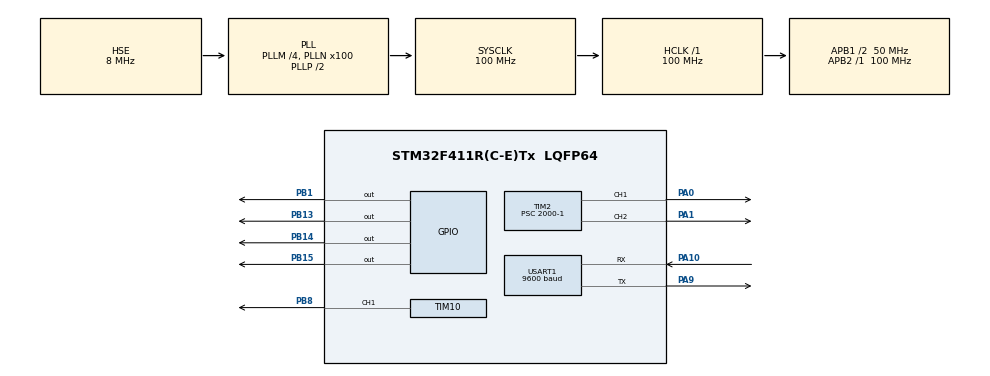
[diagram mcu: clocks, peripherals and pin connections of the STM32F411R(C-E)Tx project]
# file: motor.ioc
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Mcu.Family=STM32F4
Mcu.Name=STM32F411R(C-E)Tx
Mcu.Package=LQFP64
NVIC.PriorityGroup=NVIC_PRIORITYGROUP_0
NVIC.TIM2_IRQn=true\:0\:0\:false\:false\:true\:true\:true\:true
NVIC.USART1_IRQn=true\:0\:0\:false\:false\:true\:true\:true\:true
PA0-WKUP.Signal=S_TIM2_CH1_ETR
PA1.Signal=S_TIM2_CH2
PA10.Mode=Asynchronous
PA10.Signal=USART1_RX
PA13.Mode=Serial_Wire
PA13.Signal=SYS_JTMS-SWDIO
PA14.Mode=Serial_Wire
PA14.Signal=SYS_JTCK-SWCLK
PA9.Mode=Asynchronous
PA9.Signal=USART1_TX
PB1.Signal=GPIO_Output
PB13.Signal=GPIO_Output
PB14.Signal=GPIO_Output
PB15.Signal=GPIO_Output
PB8.Signal=S_TIM10_CH1
PH0\ -\ OSC_IN.Mode=HSE-External-Oscillator
PH0\ -\ OSC_IN.Signal=RCC_OSC_IN
PH1\ -\ OSC_OUT.Mode=HSE-External-Oscillator
PH1\ -\ OSC_OUT.Signal=RCC_OSC_OUT
ProjectManager.HeapSize=0x200
ProjectManager.StackSize=0x400
ProjectManager.TargetToolchain=STM32CubeIDE
RCC.48MHZClocksFreq_Value=50000000
RCC.AHBFreq_Value=100000000
RCC.APB1CLKDivider=RCC_HCLK_DIV2
RCC.APB1Freq_Value=50000000
RCC.APB1TimFreq_Value=100000000
RCC.APB2Freq_Value=100000000
RCC.APB2TimFreq_Value=100000000
RCC.CortexFreq_Value=100000000
RCC.FLatency-AdvancedSettings=FLASH_LATENCY_3
RCC.HCLKFreq_Value=100000000
RCC.HSE_VALUE=8000000
RCC.HSI_VALUE=16000000
RCC.LSE_VALUE=32768
RCC.PLLM=4
RCC.PLLN=100
RCC.PLLSourceVirtual=RCC_PLLSOURCE_HSE
RCC.SYSCLKFreq_VALUE=100000000
RCC.SYSCLKSource=RCC_SYSCLKSOURCE_PLLCLK
RCC.VCOOutputFreq_Value=200000000
SH.S_TIM10_CH1.0=TIM10_CH1,PWM Generation1 CH1
SH.S_TIM2_CH1_ETR.0=TIM2_CH1,PWM Generation1 CH1
SH.S_TIM2_CH2.0=TIM2_CH2,PWM Generation2 CH2
TIM10.Channel=TIM_CHANNEL_1
TIM10.Period=999
TIM10.Prescaler=99
TIM11.Prescaler=9999
TIM2.Channel-PWM\ Generation1\ CH1=TIM_CHANNEL_1
TIM2.Channel-PWM\ Generation2\ CH2=TIM_CHANNEL_2
TIM2.Period=1000-1
TIM2.Prescaler=2000-1
USART1.BaudRate=9600
USART1.VirtualMode=VM_ASYNC
VP_TIM10_VS_ClockSourceINT.Mode=Enable_Timer
VP_TIM11_VS_ClockSourceINT.Mode=Enable_Timer
VP_TIM2_VS_ClockSourceINT.Mode=Internal
board=NUCLEO-F411RE

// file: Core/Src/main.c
/* USER CODE BEGIN Header */
/**
  ******************************************************************************
  * @file           : main.c
  * @brief          : Main program body
  ******************************************************************************
  * @attention
  *
  * Copyright (c) 2024 STMicroelectronics.
  * All rights reserved.
  *
  * This software is licensed under terms that can be found in the LICENSE file
  * in the root directory of this software component.
  * If no LICENSE file comes with this software, it is provided AS-IS.
  *
  ******************************************************************************
  */
/* USER CODE END Header */
#include "main.h"

/* USER CODE BEGIN Includes */
#include "buzzer.h"
#include "motor.h"

/* USER CODE END Includes */

TIM_HandleTypeDef htim2;
TIM_HandleTypeDef htim10;
TIM_HandleTypeDef htim11;

UART_HandleTypeDef huart1;

/* USER CODE BEGIN PV */
uint8_t str_peri[1];
static uint16_t speedIndex = 0;
static uint16_t speedState[] = {600, 800, 1000};
/* USER CODE END PV */

void SystemClock_Config(void);
static void MX_GPIO_Init(void);
static void MX_USART1_UART_Init(void);
static void MX_TIM10_Init(void);
static void MX_TIM2_Init(void);
static void MX_TIM11_Init(void);
/* USER CODE BEGIN PFP */
#ifdef __GNUC__
  /* With GCC, small printf (option LD Linker->Libraries->Small printf
     set to 'Yes') calls __io_putchar() */
  #define PUTCHAR_PROTOTYPE int __io_putchar(int ch)
#else
  #define PUTCHAR_PROTOTYPE int fputc(int ch, FILE *f)
#endif /* __GNUC__ */
/* USER CODE END PFP */

/* USER CODE BEGIN 0 */

extern uint8_t stop;

int speed = 600 ;

void HAL_UARTEx_RxEventCallback(UART_HandleTypeDef *huart, uint16_t rxBufferSize)
{
	if (huart == &huart1)	// else if
	{
		if (rxBufferSize)
		{
			str_peri[rxBufferSize] = 0;	// trans char
		}
		HAL_UARTEx_ReceiveToIdle_IT(&huart1, str_peri, sizeof(str_peri));

		if(str_peri[0] == 'F')
		{
			stop = 0;
			__HAL_TIM_SET_COMPARE(&htim10, TIM_CHANNEL_1, speed);
			Forward();

		}
		else if(str_peri[0] == 'L')
		{
			stop = 0;
			__HAL_TIM_SET_COMPARE(&htim10, TIM_CHANNEL_1, speed);
			Left();
		}
		else if(str_peri[0] == 'B')
		{
			stop = 1;

		}
		else if(str_peri[0] == 'R')
		{
			stop = 0;
			__HAL_TIM_SET_COMPARE(&htim10, TIM_CHANNEL_1, speed);
			Right();
		}
		else if(str_peri[0] == 'P')
		{
			stop = 0;
			STOP();
		}
		else if(str_peri[0] == 'A')
		{
			stop = 0;
			speedIndex = (speedIndex +1) % (sizeof(speedState) / sizeof(speedState[0]));
			speed = speedState[speedIndex];
			__HAL_TIM_SET_COMPARE(&htim10, TIM_CHANNEL_1, speed);
		}

	}

		// default speed

}
/* USER CODE END 0 */

int main(void)
{

  /* MCU Configuration--------------------------------------------------------*/

  /* Reset of all peripherals, Initializes the Flash interface and the Systick. */
  HAL_Init();

  /* Configure the system clock */
  SystemClock_Config();

  /* Initialize all configured peripherals */
  MX_GPIO_Init();
  MX_USART1_UART_Init();
  MX_TIM10_Init();
  MX_TIM2_Init();
  MX_TIM11_Init();
  /* USER CODE BEGIN 2 */
  HAL_UARTEx_ReceiveToIdle_IT(&huart1, str_peri, sizeof(str_peri));
  HAL_TIM_PWM_Start(&htim10, TIM_CHANNEL_1);

  /* USER CODE END 2 */

  /* Infinite loop */
  /* USER CODE BEGIN WHILE */
  while (1)
  {

		music();

    /* USER CODE END WHILE */

  }
}

void SystemClock_Config(void)
{
  RCC_OscInitTypeDef RCC_OscInitStruct = {0};
  RCC_ClkInitTypeDef RCC_ClkInitStruct = {0};

  /** Configure the main internal regulator output voltage
  */
  __HAL_RCC_PWR_CLK_ENABLE();
  __HAL_PWR_VOLTAGESCALING_CONFIG(PWR_REGULATOR_VOLTAGE_SCALE1);

  /** Initializes the RCC Oscillators according to the specified parameters
  * in the RCC_OscInitTypeDef structure.
  */
  RCC_OscInitStruct.OscillatorType = RCC_OSCILLATORTYPE_HSE;
  RCC_OscInitStruct.HSEState = RCC_HSE_ON;
  RCC_OscInitStruct.PLL.PLLState = RCC_PLL_ON;
  RCC_OscInitStruct.PLL.PLLSource = RCC_PLLSOURCE_HSE;
  RCC_OscInitStruct.PLL.PLLM = 4;
  RCC_OscInitStruct.PLL.PLLN = 100;
  RCC_OscInitStruct.PLL.PLLP = RCC_PLLP_DIV2;
  RCC_OscInitStruct.PLL.PLLQ = 4;
  if (HAL_RCC_OscConfig(&RCC_OscInitStruct) != HAL_OK)
  {
    Error_Handler();
  }

  /** Initializes the CPU, AHB and APB buses clocks
  */
  RCC_ClkInitStruct.ClockType = RCC_CLOCKTYPE_HCLK|RCC_CLOCKTYPE_SYSCLK
                              |RCC_CLOCKTYPE_PCLK1|RCC_CLOCKTYPE_PCLK2;
  RCC_ClkInitStruct.SYSCLKSource = RCC_SYSCLKSOURCE_PLLCLK;
  RCC_ClkInitStruct.AHBCLKDivider = RCC_SYSCLK_DIV1;
  RCC_ClkInitStruct.APB1CLKDivider = RCC_HCLK_DIV2;
  RCC_ClkInitStruct.APB2CLKDivider = RCC_HCLK_DIV1;

  if (HAL_RCC_ClockConfig(&RCC_ClkInitStruct, FLASH_LATENCY_3) != HAL_OK)
  {
    Error_Handler();
  }
}

static void MX_TIM2_Init(void)
{

  TIM_ClockConfigTypeDef sClockSourceConfig = {0};
  TIM_MasterConfigTypeDef sMasterConfig = {0};
  TIM_OC_InitTypeDef sConfigOC = {0};

  htim2.Instance = TIM2;
  htim2.Init.Prescaler = 2000-1;
  htim2.Init.CounterMode = TIM_COUNTERMODE_UP;
  htim2.Init.Period = 1000-1;
  htim2.Init.ClockDivision = TIM_CLOCKDIVISION_DIV1;
  htim2.Init.AutoReloadPreload = TIM_AUTORELOAD_PRELOAD_DISABLE;
  if (HAL_TIM_Base_Init(&htim2) != HAL_OK)
  {
    Error_Handler();
  }
  sClockSourceConfig.ClockSource = TIM_CLOCKSOURCE_INTERNAL;
  if (HAL_TIM_ConfigClockSource(&htim2, &sClockSourceConfig) != HAL_OK)
  {
    Error_Handler();
  }
  if (HAL_TIM_PWM_Init(&htim2) != HAL_OK)
  {
    Error_Handler();
  }
  sMasterConfig.MasterOutputTrigger = TIM_TRGO_RESET;
  sMasterConfig.MasterSlaveMode = TIM_MASTERSLAVEMODE_DISABLE;
  if (HAL_TIMEx_MasterConfigSynchronization(&htim2, &sMasterConfig) != HAL_OK)
  {
    Error_Handler();
  }
  sConfigOC.OCMode = TIM_OCMODE_PWM1;
  sConfigOC.Pulse = 0;
  sConfigOC.OCPolarity = TIM_OCPOLARITY_HIGH;
  sConfigOC.OCFastMode = TIM_OCFAST_DISABLE;
  if (HAL_TIM_PWM_ConfigChannel(&htim2, &sConfigOC, TIM_CHANNEL_1) != HAL_OK)
  {
    Error_Handler();
  }
  if (HAL_TIM_PWM_ConfigChannel(&htim2, &sConfigOC, TIM_CHANNEL_2) != HAL_OK)
  {
    Error_Handler();
  }
  HAL_TIM_MspPostInit(&htim2);

}

static void MX_TIM10_Init(void)
{

  TIM_OC_InitTypeDef sConfigOC = {0};

  htim10.Instance = TIM10;
  htim10.Init.Prescaler = 99;
  htim10.Init.CounterMode = TIM_COUNTERMODE_UP;
  htim10.Init.Period = 999;
  htim10.Init.ClockDivision = TIM_CLOCKDIVISION_DIV1;
  htim10.Init.AutoReloadPreload = TIM_AUTORELOAD_PRELOAD_DISABLE;
  if (HAL_TIM_Base_Init(&htim10) != HAL_OK)
  {
    Error_Handler();
  }
  if (HAL_TIM_PWM_Init(&htim10) != HAL_OK)
  {
    Error_Handler();
  }
  sConfigOC.OCMode = TIM_OCMODE_PWM1;
  sConfigOC.Pulse = 0;
  sConfigOC.OCPolarity = TIM_OCPOLARITY_HIGH;
  sConfigOC.OCFastMode = TIM_OCFAST_DISABLE;
  if (HAL_TIM_PWM_ConfigChannel(&htim10, &sConfigOC, TIM_CHANNEL_1) != HAL_OK)
  {
    Error_Handler();
  }
  HAL_TIM_MspPostInit(&htim10);

}

static void MX_TIM11_Init(void)
{

  htim11.Instance = TIM11;
  htim11.Init.Prescaler = 9999;
  htim11.Init.CounterMode = TIM_COUNTERMODE_UP;
  htim11.Init.Period = 65535;
  htim11.Init.ClockDivision = TIM_CLOCKDIVISION_DIV1;
  htim11.Init.AutoReloadPreload = TIM_AUTORELOAD_PRELOAD_DISABLE;
  if (HAL_TIM_Base_Init(&htim11) != HAL_OK)
  {
    Error_Handler();
  }

}

static void MX_USART1_UART_Init(void)
{

  huart1.Instance = USART1;
  huart1.Init.BaudRate = 9600;
  huart1.Init.WordLength = UART_WORDLENGTH_8B;
  huart1.Init.StopBits = UART_STOPBITS_1;
  huart1.Init.Parity = UART_PARITY_NONE;
  huart1.Init.Mode = UART_MODE_TX_RX;
  huart1.Init.HwFlowCtl = UART_HWCONTROL_NONE;
  huart1.Init.OverSampling = UART_OVERSAMPLING_16;
  if (HAL_UART_Init(&huart1) != HAL_OK)
  {
    Error_Handler();
  }

}

static void MX_GPIO_Init(void)
{
  GPIO_InitTypeDef GPIO_InitStruct = {0};

  /* GPIO Ports Clock Enable */
  __HAL_RCC_GPIOH_CLK_ENABLE();
  __HAL_RCC_GPIOA_CLK_ENABLE();
  __HAL_RCC_GPIOB_CLK_ENABLE();

  /*Configure GPIO pin Output Level */
  HAL_GPIO_WritePin(GPIOB, GPIO_PIN_1|GPIO_PIN_13|GPIO_PIN_14|GPIO_PIN_15, GPIO_PIN_RESET);

  /*Configure GPIO pins : PB1 PB13 PB14 PB15 */
  GPIO_InitStruct.Pin = GPIO_PIN_1|GPIO_PIN_13|GPIO_PIN_14|GPIO_PIN_15;
  GPIO_InitStruct.Mode = GPIO_MODE_OUTPUT_PP;
  GPIO_InitStruct.Pull = GPIO_NOPULL;
  GPIO_InitStruct.Speed = GPIO_SPEED_FREQ_LOW;
  HAL_GPIO_Init(GPIOB, &GPIO_InitStruct);

}

void Error_Handler(void)
{
  __disable_irq();
  while (1)
  {
  }
}
